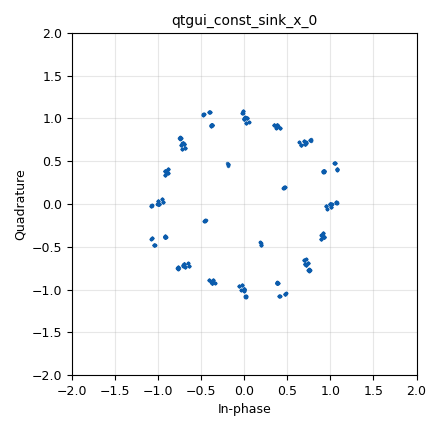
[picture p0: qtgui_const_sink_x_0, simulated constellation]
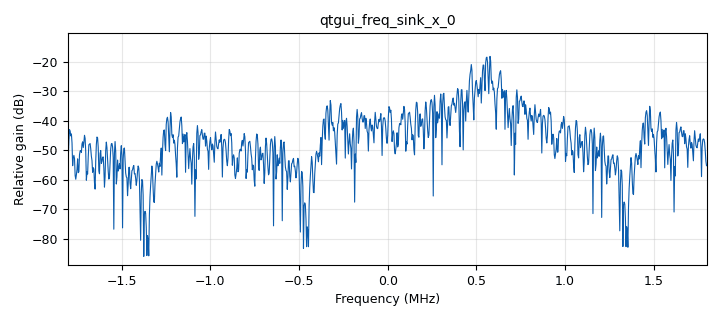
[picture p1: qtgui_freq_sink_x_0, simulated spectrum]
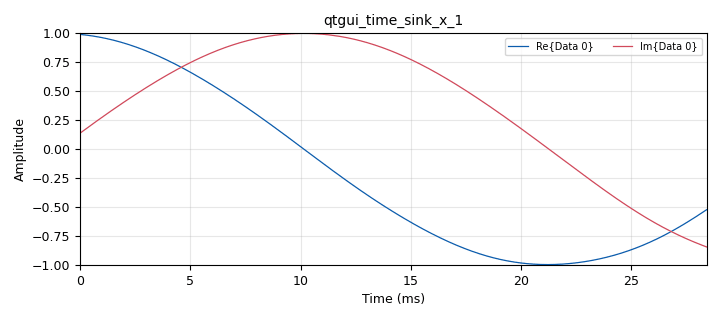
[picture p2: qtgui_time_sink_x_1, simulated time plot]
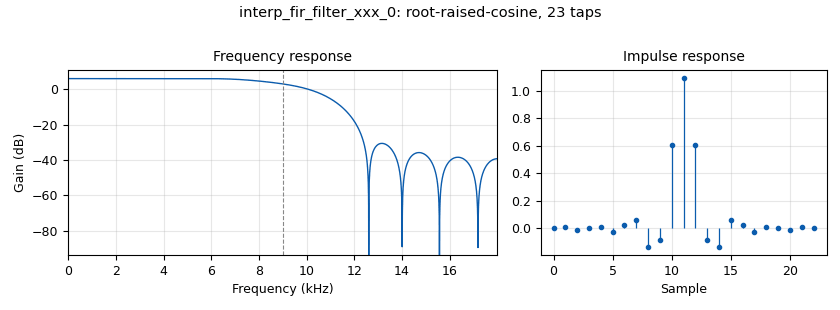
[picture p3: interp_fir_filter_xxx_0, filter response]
<?xml version='1.0' encoding='utf-8'?>
<?grc format='1' created='3.7.9'?>
<flow_graph>
<block>
<key>options</key>
<param><key>id</key><value>top_block</value></param>
<param><key>category</key><value>Custom</value></param>
<param><key>generate_options</key><value>qt_gui</value></param>
</block>
<block>
<key>variable</key>
<param><key>id</key><value>arity</value></param>
<param><key>value</key><value>8</value></param>
</block>
<block>
<key>variable</key>
<param><key>id</key><value>excess_bw</value></param>
<param><key>value</key><value>0.35</value></param>
</block>
<block>
<key>variable</key>
<param><key>id</key><value>ntaps</value></param>
<param><key>value</key><value>11*samples_per_symbol</value></param>
</block>
<block>
<key>variable</key>
<param><key>id</key><value>samp_rate</value></param>
<param><key>value</key><value>36e3</value></param>
</block>
<block>
<key>variable</key>
<param><key>id</key><value>samples_per_symbol</value></param>
<param><key>value</key><value>2</value></param>
</block>
<block>
<key>variable</key>
<param><key>id</key><value>sampling_rate</value></param>
<param><key>value</key><value>symbol_rate * samples_per_symbol</value></param>
</block>
<block>
<key>variable</key>
<param><key>id</key><value>symbol_rate</value></param>
<param><key>value</key><value>18000</value></param>
</block>
<block>
<key>analog_random_source_x</key>
<param><key>id</key><value>analog_random_source_x_0</value></param>
<param><key>max</key><value>2</value></param>
<param><key>min</key><value>0</value></param>
<param><key>num_samps</key><value>1000</value></param>
<param><key>type</key><value>byte</value></param>
<param><key>repeat</key><value>True</value></param>
</block>
<block>
<key>blocks_packed_to_unpacked_xx</key>
<param><key>id</key><value>blocks_packed_to_unpacked_xx_0</value></param>
<param><key>bits_per_chunk</key><value>2</value></param>
<param><key>endianness</key><value>gr.GR_MSB_FIRST</value></param>
<param><key>type</key><value>byte</value></param>
</block>
<block>
<key>blocks_throttle</key>
<param><key>id</key><value>blocks_throttle_0</value></param>
<param><key>samples_per_second</key><value>samp_rate</value></param>
<param><key>type</key><value>byte</value></param>
</block>
<block>
<key>blocks_vector_source_x</key>
<param><key>id</key><value>blocks_vector_source_x_0</value></param>
<param><key>_enabled</key><value>0</value></param>
<param><key>type</key><value>byte</value></param>
<param><key>repeat</key><value>True</value></param>
<param><key>vector</key><value>(40, 40, 40)</value></param>
</block>
<block>
<key>digital_chunks_to_symbols_xx</key>
<param><key>id</key><value>digital_chunks_to_symbols_xx_0</value></param>
<param><key>dimension</key><value>1</value></param>
<param><key>in_type</key><value>byte</value></param>
<param><key>out_type</key><value>complex</value></param>
<param><key>symbol_table</key><value>psk.psk_constellation(8).points()</value></param>
</block>
<block>
<key>digital_diff_encoder_bb</key>
<param><key>id</key><value>digital_diff_encoder_bb_0</value></param>
<param><key>modulus</key><value>arity</value></param>
</block>
<block>
<key>digital_map_bb</key>
<param><key>id</key><value>digital_map_bb_0</value></param>
<param><key>map</key><value>[1, 3, 7, 5]</value></param>
</block>
<block>
<key>import</key>
<param><key>id</key><value>import_0</value></param>
<param><key>import</key><value>from gnuradio.digital import psk</value></param>
</block>
<block>
<key>import</key>
<param><key>id</key><value>import_0_0</value></param>
<param><key>import</key><value>from gnuradio import filter</value></param>
</block>
<block>
<key>interp_fir_filter_xxx</key>
<param><key>id</key><value>interp_fir_filter_xxx_0</value></param>
<param><key>interp</key><value>samples_per_symbol</value></param>
<param><key>taps</key><value>filter.firdes.root_raised_cosine(samples_per_symbol, sampling_rate, symbol_rate, excess_bw,ntaps)</value></param>
<param><key>type</key><value>ccc</value></param>
</block>
<block>
<key>qtgui_const_sink_x</key>
<param><key>id</key><value>qtgui_const_sink_x_0</value></param>
<param><key>size</key><value>1024</value></param>
<param><key>type</key><value>complex</value></param>
</block>
<block>
<key>qtgui_freq_sink_x</key>
<param><key>id</key><value>qtgui_freq_sink_x_0</value></param>
<param><key>autoscale</key><value>True</value></param>
<param><key>bw</key><value>samp_rate*100</value></param>
<param><key>fc</key><value>0</value></param>
<param><key>fftsize</key><value>1024</value></param>
<param><key>showports</key><value>True</value></param>
<param><key>type</key><value>complex</value></param>
<param><key>wintype</key><value>firdes.WIN_BLACKMAN_hARRIS</value></param>
</block>
<block>
<key>qtgui_time_sink_x</key>
<param><key>id</key><value>qtgui_time_sink_x_0</value></param>
<param><key>autoscale</key><value>True</value></param>
<param><key>color1</key><value>"blue"</value></param>
<param><key>label1</key><value></value></param>
<param><key>size</key><value>1024</value></param>
<param><key>srate</key><value>samp_rate/2</value></param>
<param><key>type</key><value>float</value></param>
</block>
<block>
<key>qtgui_time_sink_x</key>
<param><key>id</key><value>qtgui_time_sink_x_1</value></param>
<param><key>color1</key><value>"blue"</value></param>
<param><key>label1</key><value></value></param>
<param><key>color2</key><value>"red"</value></param>
<param><key>label2</key><value></value></param>
<param><key>size</key><value>1024</value></param>
<param><key>srate</key><value>samp_rate</value></param>
<param><key>type</key><value>complex</value></param>
</block>
<block>
<key>rational_resampler_xxx</key>
<param><key>id</key><value>rational_resampler_xxx_0</value></param>
<param><key>decim</key><value>1</value></param>
<param><key>interp</key><value>100</value></param>
<param><key>taps</key><value></value></param>
<param><key>type</key><value>ccc</value></param>
</block>
<block>
<key>tetra_demod</key>
<param><key>id</key><value>tetra_demod_0</value></param>
</block>
<connection><source_block_id>analog_random_source_x_0</source_block_id><sink_block_id>blocks_throttle_0</sink_block_id><source_key>0</source_key><sink_key>0</sink_key></connection>
<connection><source_block_id>blocks_packed_to_unpacked_xx_0</source_block_id><sink_block_id>digital_map_bb_0</sink_block_id><source_key>0</source_key><sink_key>0</sink_key></connection>
<connection><source_block_id>blocks_throttle_0</source_block_id><sink_block_id>blocks_packed_to_unpacked_xx_0</sink_block_id><source_key>0</source_key><sink_key>0</sink_key></connection>
<connection><source_block_id>blocks_vector_source_x_0</source_block_id><sink_block_id>blocks_throttle_0</sink_block_id><source_key>0</source_key><sink_key>0</sink_key></connection>
<connection><source_block_id>digital_chunks_to_symbols_xx_0</source_block_id><sink_block_id>interp_fir_filter_xxx_0</sink_block_id><source_key>0</source_key><sink_key>0</sink_key></connection>
<connection><source_block_id>digital_chunks_to_symbols_xx_0</source_block_id><sink_block_id>qtgui_freq_sink_x_0</sink_block_id><source_key>0</source_key><sink_key>0</sink_key></connection>
<connection><source_block_id>digital_diff_encoder_bb_0</source_block_id><sink_block_id>digital_chunks_to_symbols_xx_0</sink_block_id><source_key>0</source_key><sink_key>0</sink_key></connection>
<connection><source_block_id>digital_map_bb_0</source_block_id><sink_block_id>digital_diff_encoder_bb_0</sink_block_id><source_key>0</source_key><sink_key>0</sink_key></connection>
<connection><source_block_id>interp_fir_filter_xxx_0</source_block_id><sink_block_id>qtgui_const_sink_x_0</sink_block_id><source_key>0</source_key><sink_key>0</sink_key></connection>
<connection><source_block_id>interp_fir_filter_xxx_0</source_block_id><sink_block_id>rational_resampler_xxx_0</sink_block_id><source_key>0</source_key><sink_key>0</sink_key></connection>
<connection><source_block_id>interp_fir_filter_xxx_0</source_block_id><sink_block_id>tetra_demod_0</sink_block_id><source_key>0</source_key><sink_key>0</sink_key></connection>
<connection><source_block_id>rational_resampler_xxx_0</source_block_id><sink_block_id>qtgui_time_sink_x_1</sink_block_id><source_key>0</source_key><sink_key>0</sink_key></connection>
<connection><source_block_id>tetra_demod_0</source_block_id><sink_block_id>qtgui_time_sink_x_0</sink_block_id><source_key>0</source_key><sink_key>0</sink_key></connection>
</flow_graph>
